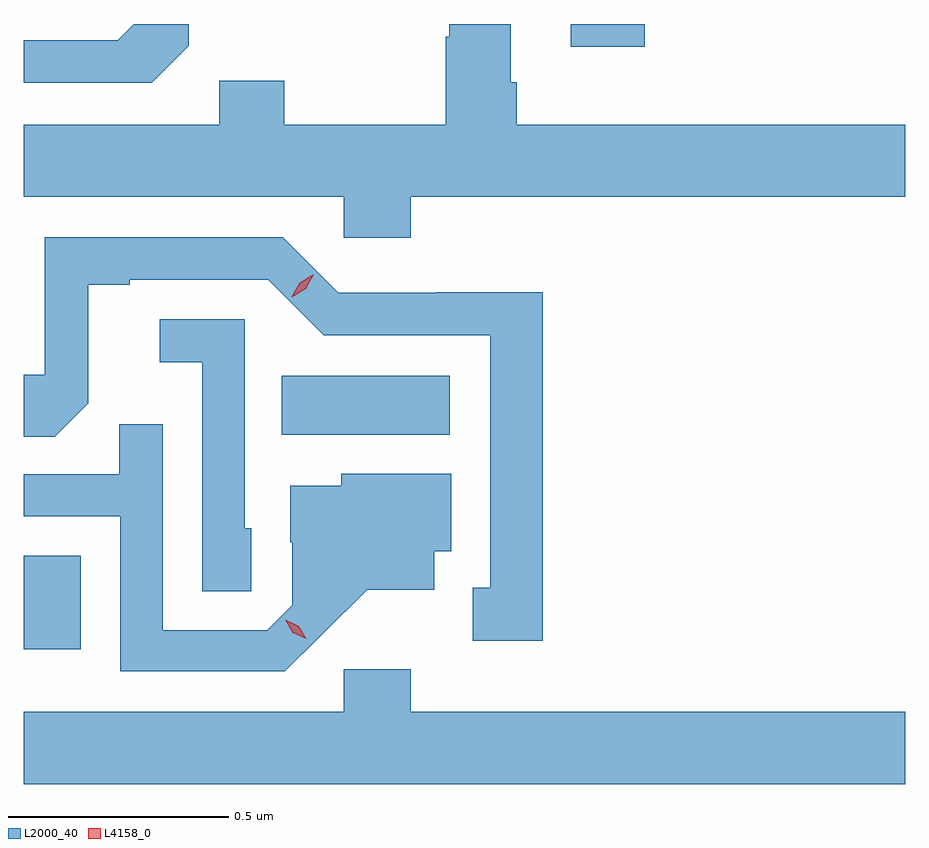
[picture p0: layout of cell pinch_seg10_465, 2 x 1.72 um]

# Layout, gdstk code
import gdstk
lib = gdstk.Library(unit=1e-6, precision=1e-09)
def R(c, l, rs):  # rectangles x0, y0, x1, y1
    for r in rs: c.add(gdstk.rectangle(r[:2], r[2:], *l))
def P(c, l, *ps):  # polygons
    for p in ps: c.add(gdstk.Polygon(p, *l))
L2000_40 = (2000, 40)
L4158_0 = (4158, 0)

pinch_seg10_465 = lib.new_cell('pinch_seg10_465')
R(pinch_seg10_465, L2000_40, [(358.56,1303.286,358.69,1303.498), (359.146,1303.772,359.527,1303.906), (359.801,1304.652,359.969,1304.704)])
P(pinch_seg10_465, L2000_40, [(359.438,1304.312),(360.56,1304.312),(360.56,1304.476),(359.678,1304.476),(359.678,1304.572),(359.665,1304.572),(359.665,1304.704),(359.525,1304.704),(359.525,1304.675),(359.518,1304.675),(359.518,1304.476),(359.151,1304.476),(359.151,1304.575),(359.004,1304.575),(359.004,1304.476),(358.56,1304.476),(358.56,1304.312),(359.286,1304.312),(359.286,1304.219),(359.438,1304.219)],
  [(358.935,1304.655),(358.935,1304.704),(358.81,1304.704),(358.773,1304.667),(358.56,1304.667),(358.56,1304.571),(358.851,1304.571)],
  [(359.737,1304.096),(359.496,1304.096),(359.496,1304.094),(359.274,1304.094),(359.148,1304.22),(358.608,1304.22),(358.608,1303.908),(358.56,1303.908),(358.56,1303.768),(358.631,1303.768),(358.707,1303.844),(358.707,1304.112),(358.801,1304.112),(358.801,1304.124),(359.115,1304.124),(359.241,1303.998),(359.618,1303.998),(359.618,1303.425),(359.579,1303.425),(359.579,1303.305),(359.737,1303.305)],
  [(359.076,1303.56),(359.061,1303.56),(359.061,1304.034),(358.869,1304.034),(358.869,1303.937),(358.965,1303.937),(358.965,1303.417),(359.076,1303.417)],
  [(359.236,1303.319),(359.339,1303.421),(359.491,1303.421),(359.491,1303.508),(359.53,1303.508),(359.53,1303.684),(359.28,1303.684),(359.28,1303.657),(359.165,1303.657),(359.165,1303.528),(359.169,1303.528),(359.169,1303.386),(359.112,1303.329),(358.875,1303.329),(358.875,1303.796),(358.777,1303.796),(358.777,1303.683),(358.56,1303.683),(358.56,1303.587),(358.779,1303.587),(358.779,1303.236),(359.152,1303.236)],
  [(360.56,1303.144),(359.438,1303.144),(359.438,1303.24),(359.286,1303.24),(359.286,1303.144),(358.56,1303.144),(358.56,1302.98),(360.56,1302.98)])
P(pinch_seg10_465, L4158_0, [(359.168,1304.084),(359.168,1304.085),(359.186,1304.117),(359.218,1304.136),(359.218,1304.136),(359.218,1304.136),(359.2,1304.103),(359.168,1304.084)],
  [(359.201,1303.309),(359.17,1303.323),(359.153,1303.353),(359.153,1303.353),(359.153,1303.353),(359.184,1303.338),(359.201,1303.309),(359.201,1303.309)])

lib.write_gds('pinch_seg10_465.gds')
